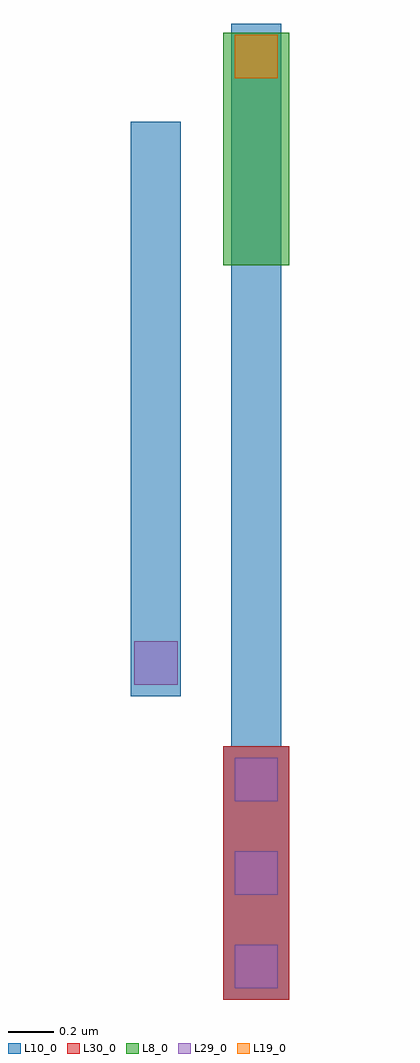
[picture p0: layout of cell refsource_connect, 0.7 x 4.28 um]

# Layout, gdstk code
import gdstk
lib = gdstk.Library(unit=1e-6, precision=1e-09)
def R(c, l, rs):  # rectangles x0, y0, x1, y1
    for r in rs: c.add(gdstk.rectangle(r[:2], r[2:], *l))
def A(c, l, x, y, w, h, nx, ny, dx, dy):  # array of equal rectangles
    R(c, l, [(x+i*dx, y+j*dy, x+i*dx+w, y+j*dy+h) for i in range(nx) for j in range(ny)])
L8_0 = (8, 0)
L10_0 = (10, 0)
L19_0 = (19, 0)
L29_0 = (29, 0)
L30_0 = (30, 0)

via_stack = lib.new_cell('via_stack')
R(via_stack, L10_0, [(-0.145,-0.555,0.145,0.555)])
A(via_stack, L29_0, -0.095, -0.505, 0.19, 0.19, 1, 3, 0, 0.41)
R(via_stack, L30_0, [(-0.145,-0.555,0.145,0.555)])

refsource_connect = lib.new_cell('refsource_connect')
R(refsource_connect, L19_0, [(0.345,0.335,0.535,0.525)])
R(refsource_connect, L29_0, [(-0.095,-2.325,0.095,-2.135)])
refsource_connect.add(gdstk.FlexPath([(0,-2.375),(0,0.145)], 0.22, ends="flush", simple_path=True, layer=10, datatype=0))  # L10_0
refsource_connect.add(gdstk.FlexPath([(0.44,-2.835),(0.44,0.575)], 0.22, ends="flush", simple_path=True, layer=10, datatype=0))  # L10_0
refsource_connect.add(gdstk.FlexPath([(0.44,0.535),(0.44,-0.485)], 0.29, ends="flush", simple_path=True, layer=8, datatype=0))  # L8_0
refsource_connect.add(gdstk.Reference(via_stack, (0.44,-3.15)))

lib.write_gds('refsource_connect.gds')
